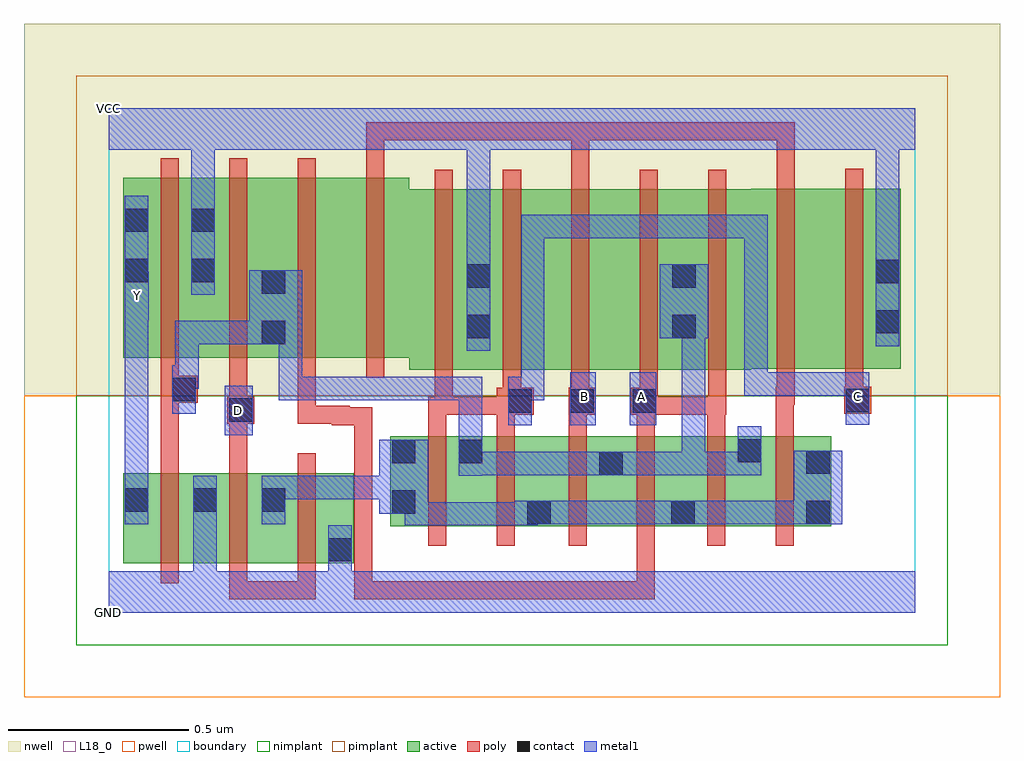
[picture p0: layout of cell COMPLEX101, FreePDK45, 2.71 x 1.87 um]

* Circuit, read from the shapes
.subckt COMPLEX101 A B C D GND VCC Y
M1 GND n1 Y VSUBS nfet w=0.25u l=0.05u
M2 n2 D GND VSUBS nfet w=0.25u l=0.05u m=2
M3 n1 C n2 VSUBS nfet w=0.25u l=0.05u m=2
M4 n1 B n2 VSUBS nfet w=0.25u l=0.05u m=2
M5 n2 A n1 VSUBS nfet w=0.25u l=0.05u m=2
M6 VCC n1 Y n3 pfet w=0.5u l=0.05u
M7 n1 D VCC n3 pfet w=0.5u l=0.05u
M8 n4 A n1 n3 pfet w=0.5u l=0.05u
M9 n5 B n4 n3 pfet w=0.5u l=0.05u
M10 VCC C n5 n3 pfet w=0.5u l=0.05u
M11 n6 C VCC n3 pfet w=0.5u l=0.05u
M12 n7 B n6 n3 pfet w=0.5u l=0.05u
M13 n1 A n7 n3 pfet w=0.5u l=0.05u
M14 n8 A n1 n3 pfet w=0.5u l=0.05u
M15 n9 B n8 n3 pfet w=0.5u l=0.05u
M16 VCC C n9 n3 pfet w=0.5u l=0.05u
.ends

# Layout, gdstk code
import gdstk
lib = gdstk.Library(unit=1e-6, precision=1e-09)
def R(c, l, rs):  # rectangles x0, y0, x1, y1
    for r in rs: c.add(gdstk.rectangle(r[:2], r[2:], *l))
def A(c, l, x, y, w, h, nx, ny, dx, dy):  # array of equal rectangles
    R(c, l, [(x+i*dx, y+j*dy, x+i*dx+w, y+j*dy+h) for i in range(nx) for j in range(ny)])
active = (1, 0)
pwell = (2, 0)
nwell = (3, 0)
nimplant = (4, 0)
pimplant = (5, 0)
poly = (9, 0)
contact = (10, 0)
metal1 = (11, 0)
L18_0 = (18, 0)
boundary = (235, 0)

complex101 = lib.new_cell('COMPLEX101')
R(complex101, active, [(0.04,0.137,0.305,0.387), (0.23,0.137,0.495,0.387), (0.23,0.137,0.305,0.35), (0.42,0.137,0.68,0.387), (0.605,0.137,0.68,0.387), (0.04,0.2,0.115,0.387), (0.42,0.2,0.495,0.387), (0.782,0.24,0.857,0.49), (0.782,0.24,1.042,0.49), (0.967,0.24,1.232,0.49), (1.157,0.24,1.432,0.49), (1.157,0.24,1.232,0.467), (1.357,0.24,1.632,0.49), (1.557,0.24,1.817,0.49), (1.557,0.24,1.632,0.405), (1.742,0.24,2.007,0.49), (1.932,0.24,2.007,0.49), (0.967,0.297,1.042,0.49), (1.357,0.297,1.432,0.452), (1.742,0.297,1.817,0.487), (0.835,0.675,1.065,1.175), (0.99,0.675,1.065,1.175), (0.99,0.675,1.215,1.175), (1.215,0.675,1.405,1.175), (1.405,0.675,1.635,1.175), (1.56,0.675,1.785,1.175), (1.56,0.675,1.635,1.07), (1.785,0.677,1.975,1.177), (1.975,0.677,2.2,1.177), (2.125,0.677,2.2,1.177), (0.04,0.707,0.3,1.207), (0.04,0.707,0.115,1.165), (0.225,0.707,0.3,1.207), (0.225,0.707,0.495,1.207), (0.42,0.707,0.645,1.207), (0.42,0.707,0.495,1.157), (0.645,0.707,0.835,1.207)])
R(complex101, pwell, [(-0.235,-0.235,2.475,0.602)])
R(complex101, nwell, [(-0.235,0.602,2.475,1.635)])
R(complex101, nimplant, [(-0.09,-0.09,2.33,0.602)])
R(complex101, pimplant, [(-0.09,0.602,2.33,1.49)])
A(complex101, poly, 0.145, 0.082, 0.05, 0.36, 3, 1, 0.19, 0)
A(complex101, poly, 1.095, 0.575, 0.05, 0.095, 3, 1, 0.19, 0)
A(complex101, poly, 0.905, 0.62, 0.05, 0.61, 5, 1, 0.19, 0)
A(complex101, poly, 0.145, 0.652, 0.05, 0.61, 4, 1, 0.19, 0)
R(complex101, poly, [(0.335,0.037,0.385,0.132), (0.335,0.037,0.385,0.087), (0.335,0.037,0.385,0.087), (0.335,0.037,0.385,0.087), (0.335,0.037,0.575,0.087), (0.525,0.037,0.575,0.132), (0.525,0.037,0.575,0.087), (0.682,0.037,0.732,0.087), (0.682,0.037,0.732,0.087), (0.682,0.037,0.732,0.087), (0.682,0.037,0.732,0.087), (0.682,0.037,0.732,0.087), (0.682,0.037,0.897,0.087), (0.682,0.037,0.732,0.57), (0.847,0.037,0.897,0.087), (0.847,0.037,0.897,0.087), (0.847,0.037,0.897,0.087), (0.847,0.037,1.087,0.087), (1.037,0.037,1.087,0.087), (1.037,0.037,1.087,0.087), (1.037,0.037,1.087,0.087), (1.037,0.037,1.327,0.087), (1.277,0.037,1.327,0.087), (1.277,0.037,1.327,0.087), (1.277,0.037,1.327,0.087), (1.277,0.037,1.517,0.087), (1.467,0.037,1.517,0.087), (1.467,0.037,1.517,0.087), (1.467,0.037,1.517,0.087), (1.467,0.037,1.517,0.235), (0.887,0.185,0.937,0.545), (1.077,0.185,1.127,0.545), (1.277,0.185,1.327,0.545), (1.467,0.185,1.517,0.545), (1.662,0.185,1.712,0.545), (1.852,0.185,1.902,0.545), (0.145,0.392,0.195,0.632), (0.335,0.392,0.385,0.575), (0.887,0.495,0.937,0.6), (1.077,0.495,1.127,0.6), (1.277,0.495,1.327,0.6), (1.467,0.495,1.517,0.6), (1.662,0.495,1.712,0.6), (1.852,0.495,1.902,0.627), (0.62,0.52,0.732,0.57), (0.62,0.52,0.67,0.575), (0.682,0.52,0.732,0.57), (0.33,0.525,0.405,0.6), (0.525,0.525,0.575,0.575), (0.525,0.525,0.67,0.575), (0.525,0.525,0.575,0.702), (0.335,0.55,0.385,0.702), (0.887,0.55,0.955,0.6), (0.905,0.55,0.955,0.67), (0.905,0.55,1.127,0.6), (1.077,0.55,1.127,0.6), (1.077,0.55,1.127,0.6), (1.077,0.55,1.18,0.625), (1.277,0.55,1.352,0.625), (1.45,0.55,1.525,0.625), (1.475,0.55,1.712,0.6), (1.662,0.55,1.712,0.6), (1.662,0.55,1.712,0.6), (1.662,0.55,1.715,0.6), (1.665,0.55,1.715,0.67), (2.042,0.552,2.117,0.627), (1.852,0.577,1.905,0.627), (1.855,0.577,1.905,0.672), (2.045,0.577,2.095,0.672), (0.145,0.582,0.247,0.657), (0.145,0.607,0.195,0.702), (1.855,0.622,1.905,1.232), (2.045,0.622,2.095,1.232), (1.285,1.18,1.335,1.362), (1.855,1.182,1.905,1.362), (0.715,1.212,0.765,1.362), (0.715,1.312,0.765,1.362), (0.715,1.312,0.897,1.362), (0.847,1.312,0.897,1.362), (0.847,1.312,0.897,1.362), (0.847,1.312,0.897,1.362), (0.847,1.312,1.195,1.362), (1.145,1.312,1.195,1.362), (1.145,1.312,1.195,1.362), (1.145,1.312,1.195,1.362), (1.145,1.312,1.335,1.362), (1.285,1.312,1.335,1.362), (1.285,1.312,1.335,1.362), (1.285,1.312,1.335,1.362), (1.285,1.312,1.525,1.362), (1.475,1.312,1.525,1.362), (1.475,1.312,1.525,1.362), (1.475,1.312,1.525,1.362), (1.475,1.312,1.657,1.362), (1.607,1.312,1.657,1.362), (1.607,1.312,1.657,1.362), (1.607,1.312,1.657,1.362), (1.607,1.312,1.905,1.362), (1.855,1.312,1.905,1.362), (1.855,1.312,1.905,1.362), (1.855,1.312,1.905,1.362)])
A(complex101, contact, 0.045, 0.28, 0.065, 0.065, 3, 1, 0.19, 0)
R(complex101, contact, [(0.61,0.142,0.675,0.207), (1.162,0.245,1.227,0.31), (1.562,0.245,1.627,0.31), (1.937,0.245,2.002,0.31), (0.787,0.275,0.852,0.34), (1.362,0.382,1.427,0.447), (1.937,0.385,2.002,0.45), (0.787,0.415,0.852,0.48), (0.972,0.415,1.037,0.48), (1.747,0.417,1.812,0.482), (0.335,0.53,0.4,0.595), (1.11,0.555,1.175,0.62), (1.282,0.555,1.347,0.62), (1.455,0.555,1.52,0.62), (2.047,0.557,2.112,0.622), (0.177,0.587,0.242,0.652), (0.425,0.745,0.49,0.81), (0.995,0.762,1.06,0.827), (1.565,0.762,1.63,0.827), (2.13,0.775,2.195,0.84), (0.425,0.885,0.49,0.95), (0.995,0.902,1.06,0.967), (1.565,0.902,1.63,0.967), (2.13,0.915,2.195,0.98), (0.045,0.917,0.11,0.982), (0.23,0.917,0.295,0.982), (0.045,1.057,0.11,1.122), (0.23,1.057,0.295,1.122)])
A(complex101, metal1, 0.045, 0.245, 0.065, 0.135, 3, 1, 0.19, 0)
R(complex101, metal1, [(0,0,2.24,0.115), (0.235,0.05,0.3,0.115), (0.235,0.05,0.3,0.115), (0.235,0.05,0.3,0.115), (0.235,0.05,0.3,0.115), (0.235,0.05,0.3,0.31), (0.61,0.05,0.675,0.115), (0.61,0.05,0.675,0.115), (0.61,0.05,0.675,0.115), (0.61,0.05,0.675,0.115), (0.61,0.05,0.675,0.172), (0.61,0.107,0.675,0.242), (0.822,0.242,0.887,0.307), (0.822,0.242,0.99,0.307), (0.822,0.242,0.887,0.34), (0.925,0.242,0.99,0.307), (0.925,0.242,1.037,0.307), (0.972,0.242,1.037,0.307), (0.972,0.242,1.192,0.307), (1.127,0.242,1.192,0.31), (1.127,0.245,1.192,0.31), (1.127,0.245,1.262,0.31), (1.197,0.245,1.347,0.31), (1.282,0.245,1.347,0.31), (1.282,0.245,1.455,0.31), (1.39,0.245,1.455,0.31), (1.39,0.245,1.592,0.31), (1.527,0.245,1.592,0.31), (1.527,0.245,1.592,0.31), (1.527,0.245,1.662,0.31), (1.597,0.245,1.8,0.31), (1.735,0.245,1.8,0.31), (1.735,0.245,1.8,0.31), (1.735,0.245,1.8,0.31), (1.735,0.245,1.967,0.31), (1.902,0.245,1.967,0.31), (1.902,0.245,1.967,0.31), (1.902,0.245,2.037,0.45), (0.752,0.275,0.887,0.48), (0.045,0.315,0.11,0.877), (0.425,0.315,0.537,0.38), (0.472,0.315,0.537,0.38), (0.472,0.315,0.675,0.38), (0.61,0.315,0.675,0.38), (0.61,0.315,0.675,0.38), (0.61,0.315,0.675,0.38), (0.61,0.315,0.817,0.38), (0.972,0.38,1.037,0.515), (0.972,0.382,1.21,0.447), (1.145,0.382,1.21,0.447), (1.145,0.382,1.21,0.447), (1.145,0.382,1.21,0.447), (1.145,0.382,1.347,0.447), (1.282,0.382,1.347,0.447), (1.282,0.382,1.392,0.447), (1.327,0.382,1.462,0.447), (1.397,0.382,1.657,0.447), (1.592,0.382,1.657,0.447), (1.592,0.382,1.657,0.447), (1.592,0.382,1.657,0.447), (1.592,0.382,1.657,0.447), (1.592,0.382,1.657,0.447), (1.592,0.382,1.812,0.447), (1.592,0.382,1.657,0.827), (1.747,0.382,1.812,0.447), (1.747,0.382,1.812,0.447), (1.747,0.382,1.812,0.517), (0.972,0.45,1.037,0.655), (0.322,0.492,0.4,0.63), (1.11,0.52,1.175,0.655), (1.282,0.52,1.352,0.667), (1.447,0.52,1.52,0.667), (2.047,0.522,2.112,0.667), (0.177,0.552,0.242,0.687), (0.472,0.59,0.537,0.655), (0.472,0.59,0.537,0.655), (0.472,0.59,0.537,0.655), (0.472,0.59,0.68,0.655), (0.472,0.59,0.537,0.81), (0.615,0.59,0.68,0.655), (0.615,0.59,0.68,0.655), (0.615,0.59,0.68,0.655), (0.615,0.59,0.9,0.655), (0.835,0.59,0.9,0.655), (0.835,0.59,1.037,0.655), (0.972,0.59,1.037,0.655), (0.972,0.59,1.037,0.655), (0.972,0.59,1.037,0.655), (1.11,0.59,1.21,0.655), (1.145,0.59,1.21,0.655), (1.145,0.59,1.21,1.105), (1.765,0.602,1.83,0.667), (1.765,0.602,1.967,0.667), (1.765,0.602,1.83,1.105), (1.902,0.602,1.967,0.667), (1.902,0.602,1.967,0.667), (1.902,0.602,1.967,0.667), (1.902,0.602,1.967,0.667), (1.902,0.602,1.967,0.667), (1.902,0.602,2.112,0.667), (0.177,0.622,0.25,0.687), (0.185,0.622,0.25,0.687), (0.185,0.622,0.25,0.81), (0.995,0.727,1.06,1.002), (2.13,0.74,2.195,1.015), (0.185,0.745,0.25,0.81), (0.185,0.745,0.4,0.81), (0.335,0.745,0.4,0.81), (0.335,0.745,0.455,0.81), (0.39,0.745,0.537,0.95), (1.53,0.762,1.665,0.967), (0.045,0.812,0.112,0.947), (0.045,0.882,0.11,0.947), (0.045,0.882,0.11,1.157), (0.23,0.882,0.295,1.157), (0.995,0.937,1.06,1.002), (0.995,0.937,1.06,1.002), (0.995,0.937,1.06,1.35), (2.13,0.95,2.195,1.35), (1.145,1.04,1.21,1.105), (1.145,1.04,1.21,1.105), (1.145,1.04,1.21,1.105), (1.145,1.04,1.375,1.105), (1.31,1.04,1.375,1.105), (1.31,1.04,1.4,1.105), (1.335,1.04,1.4,1.105), (1.335,1.04,1.6,1.105), (1.535,1.04,1.6,1.105), (1.535,1.04,1.6,1.105), (1.535,1.04,1.6,1.105), (1.535,1.04,1.83,1.105), (1.765,1.04,1.83,1.105), (1.765,1.04,1.83,1.105), (1.765,1.04,1.83,1.105), (0.23,1.092,0.295,1.157), (0.23,1.092,0.295,1.157), (0.23,1.092,0.295,1.35), (0,1.285,2.24,1.4), (2.13,1.285,2.195,1.35), (2.13,1.285,2.195,1.35)])
R(complex101, L18_0, [(0,0,2.24,0.115), (0.235,0.05,0.3,0.115), (0.235,0.05,0.3,0.115), (0.235,0.05,0.3,0.115), (0.235,0.05,0.3,0.115), (0.235,0.05,0.3,0.31), (0.61,0.05,0.675,0.115), (0.61,0.05,0.675,0.115), (0.61,0.05,0.675,0.115), (0.61,0.05,0.675,0.115), (0.61,0.05,0.675,0.172), (0.61,0.107,0.675,0.242), (0.045,0.245,0.11,0.38), (0.235,0.245,0.3,0.38), (0.045,0.315,0.11,0.877), (0.322,0.492,0.4,0.63), (1.11,0.52,1.175,0.655), (1.282,0.52,1.352,0.667), (1.447,0.52,1.52,0.667), (2.047,0.522,2.112,0.667), (0.327,0.527,0.392,0.592), (1.287,0.567,1.352,0.632), (1.447,0.567,1.512,0.632), (2.047,0.567,2.112,0.632), (1.11,0.59,1.21,0.655), (1.145,0.59,1.21,0.655), (1.145,0.59,1.21,1.105), (1.765,0.602,1.83,0.667), (1.765,0.602,1.83,1.105), (1.765,0.602,1.967,0.667), (1.902,0.602,1.967,0.667), (1.902,0.602,1.967,0.667), (1.902,0.602,1.967,0.667), (1.902,0.602,1.967,0.667), (1.902,0.602,1.967,0.667), (1.902,0.602,2.112,0.667), (0.995,0.727,1.06,1.002), (2.13,0.74,2.195,1.015), (0.045,0.812,0.112,0.947), (0.047,0.847,0.112,0.912), (0.045,0.882,0.11,1.157), (0.045,0.882,0.11,0.947), (0.23,0.882,0.295,1.157), (0.995,0.937,1.06,1.002), (0.995,0.937,1.06,1.002), (0.995,0.937,1.06,1.35), (2.13,0.95,2.195,1.35), (1.145,1.04,1.21,1.105), (1.145,1.04,1.21,1.105), (1.145,1.04,1.21,1.105), (1.145,1.04,1.375,1.105), (1.31,1.04,1.375,1.105), (1.31,1.04,1.4,1.105), (1.335,1.04,1.4,1.105), (1.335,1.04,1.6,1.105), (1.535,1.04,1.6,1.105), (1.535,1.04,1.6,1.105), (1.535,1.04,1.6,1.105), (1.535,1.04,1.83,1.105), (1.765,1.04,1.83,1.105), (1.765,1.04,1.83,1.105), (1.765,1.04,1.83,1.105), (0.23,1.092,0.295,1.157), (0.23,1.092,0.295,1.157), (0.23,1.092,0.295,1.35), (0,1.285,2.24,1.4), (2.13,1.285,2.195,1.35), (2.13,1.285,2.195,1.35)])
R(complex101, boundary, [(0,0,2.24,1.4)])
complex101.add(gdstk.Label('A', (1.48,0.6), layer=11, texttype=0))
complex101.add(gdstk.Label('B', (1.32,0.6), layer=11, texttype=0))
complex101.add(gdstk.Label('C', (2.08,0.6), layer=11, texttype=0))
complex101.add(gdstk.Label('D', (0.36,0.56), layer=11, texttype=0))
complex101.add(gdstk.Label('Y', (0.08,0.88), layer=11, texttype=0))
complex101.add(gdstk.Label('VCC', (0,1.4), layer=11, texttype=0))
complex101.add(gdstk.Label('GND', (0,0), layer=11, texttype=0))

lib.write_gds('COMPLEX101.gds')
